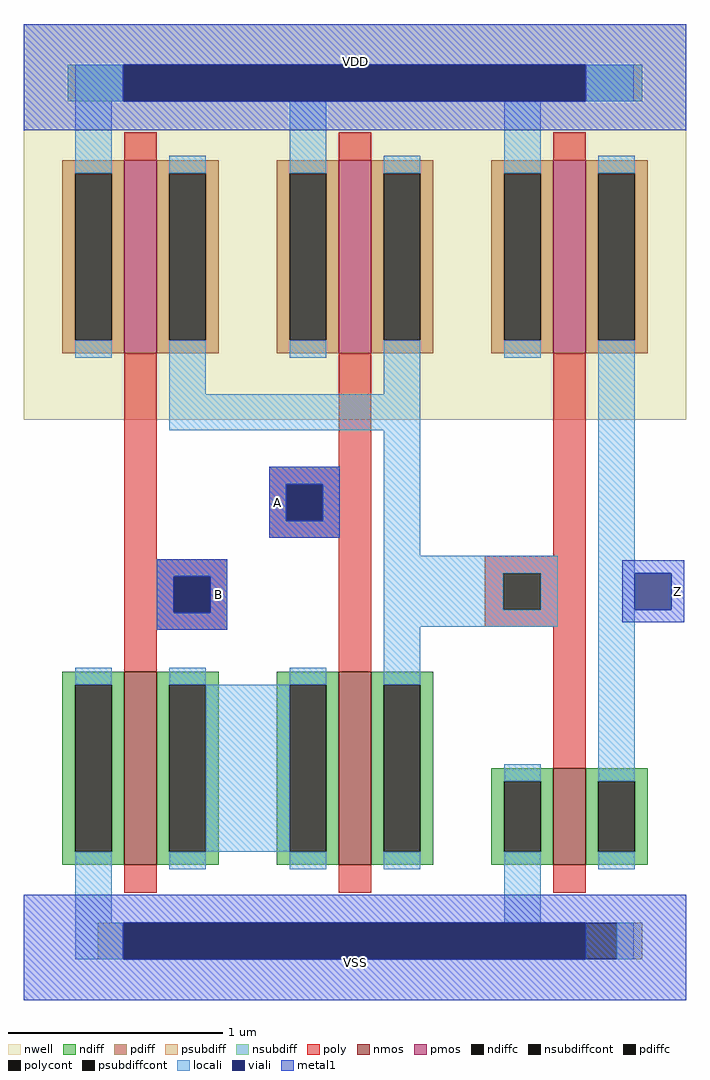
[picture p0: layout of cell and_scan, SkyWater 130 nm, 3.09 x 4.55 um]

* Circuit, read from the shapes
.subckt and_scan A B VDD VSS Z
XM1 n1 B VSS VSS sky130_fd_pr__nfet_01v8 w=0.9 l=0.15
XM2 n2 A n1 VSS sky130_fd_pr__nfet_01v8 w=0.9 l=0.15
XM3 Z n2 VSS VSS sky130_fd_pr__nfet_01v8 w=0.45 l=0.15
XM4 n2 B VDD VDD sky130_fd_pr__pfet_01v8 w=0.9 l=0.15
XM5 n2 A VDD VDD sky130_fd_pr__pfet_01v8 w=0.9 l=0.15
XM6 Z n2 VDD VDD sky130_fd_pr__pfet_01v8 w=0.9 l=0.15
.ends

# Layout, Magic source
magic
tech sky130A
magscale 1 2
<< nwell >>
rect -36 500 582 566
rect -36 479 581 500
rect 375 467 581 479
rect -36 458 582 467
rect 375 197 581 458
<< psubdiff >>
rect 33 -306 57 -272
rect 517 -306 541 -272
<< nsubdiff >>
rect 5 494 57 528
rect 488 494 541 528
<< psubdiffcont >>
rect 57 -306 517 -272
<< nsubdiffcont >>
rect 57 494 488 528
<< poly >>
rect 58 67 88 233
rect 258 153 288 233
rect 193 137 288 153
rect 193 103 209 137
rect 243 103 288 137
rect 193 87 288 103
rect 58 51 154 67
rect 58 17 104 51
rect 138 17 154 51
rect 58 1 154 17
rect 58 -12 88 1
rect 258 -12 288 87
rect 458 70 488 233
rect 394 54 488 70
rect 394 20 411 54
rect 446 20 488 54
rect 394 4 488 20
rect 458 -102 488 4
<< polycont >>
rect 209 103 243 137
rect 104 17 138 51
rect 411 20 446 54
<< locali >>
rect 12 494 57 528
rect 488 494 533 528
rect 12 443 46 494
rect 212 443 246 494
rect 412 443 446 494
rect 100 221 134 255
rect 300 221 334 255
rect 100 187 334 221
rect 193 137 259 153
rect 193 103 209 137
rect 243 103 259 137
rect 193 87 259 103
rect 300 70 334 187
rect 88 51 154 67
rect 88 17 104 51
rect 138 17 154 51
rect 88 1 154 17
rect 300 54 462 70
rect 300 20 411 54
rect 446 20 462 54
rect 300 4 462 20
rect 300 -34 334 4
rect 134 -206 212 -50
rect 500 -124 534 255
rect 12 -272 46 -222
rect 412 -272 446 -222
rect 12 -306 57 -272
rect 517 -306 533 -272
<< viali >>
rect 57 494 488 528
rect 209 103 243 137
rect 104 17 138 51
rect 534 20 568 54
rect 57 -306 488 -272
<< metal1 >>
rect -36 528 582 566
rect -36 494 57 528
rect 488 494 582 528
rect -36 467 582 494
rect 193 137 259 153
rect 193 103 209 137
rect 243 103 259 137
rect 193 87 259 103
rect 88 51 154 67
rect 88 17 104 51
rect 138 17 154 51
rect 88 1 154 17
rect 522 54 580 66
rect 522 20 534 54
rect 568 20 580 54
rect 522 8 580 20
rect -36 -272 582 -246
rect -36 -306 57 -272
rect 488 -306 582 -272
rect -36 -344 582 -306
use sky130_fd_pr__pfet_01v8_5AY9XA  sky130_fd_pr__pfet_01v8_5AY9XA_0
transform 1 0 73 0 1 349
box -109 -152 109 152
use sky130_fd_pr__pfet_01v8_5AY9XA  sky130_fd_pr__pfet_01v8_5AY9XA_1
transform 1 0 273 0 1 349
box -109 -152 109 152
use sky130_fd_pr__nfet_01v8_J6HC3N  sky130_fd_pr__nfet_01v8_J6HC3N_0
transform 1 0 473 0 1 -173
box -73 -71 73 71
use sky130_fd_pr__pfet_01v8_5AY9XA  sky130_fd_pr__pfet_01v8_5AY9XA_2
transform 1 0 473 0 1 349
box -109 -152 109 152
use sky130_fd_pr__nfet_01v8_PEKVP3  sky130_fd_pr__nfet_01v8_PEKVP3_0
transform 1 0 73 0 1 -128
box -73 -116 73 116
use sky130_fd_pr__nfet_01v8_PEKVP3  sky130_fd_pr__nfet_01v8_PEKVP3_1
transform 1 0 273 0 1 -128
box -73 -116 73 116
<< labels >>
rlabel metal1 -36 -312 582 -306 5 VSS
rlabel metal1 -36 528 582 534 1 VDD
rlabel metal1 138 1 154 67 3 B
rlabel metal1 193 87 209 153 7 A
rlabel metal1 568 8 580 66 3 Z
<< end >>

# cell sky130_fd_pr__pfet_01v8_5AY9XA: kit device sky130_fd_pr__pfet_01v8, w 0.9 l 0.15 m 1 nf 1 diffcov 100 polycov 100 guard 0 glc 0 grc 0 gtc 0 gbc 0 tbcov 100 rlcov 100 topc 0 botc 0 poverlap 0 doverlap 0 lmin 0.15 wmin 0.42 compatible {sky130_fd_pr__pfet_01v8 sky130_fd_pr__pfet_01v8_lvt sky130_fd_pr__pfet_01v8_hvt sky130_fd_pr__pfet_g5v0d10v5} full_metal 0 viasrc 100 viadrn 100 viagate 100 viagb 0 viagr 0 viagl 0 viagt 0

# cell sky130_fd_pr__nfet_01v8_J6HC3N: kit device sky130_fd_pr__nfet_01v8, w 0.45 l 0.150 m 1 nf 1 diffcov 100 polycov 100 guard 0 glc 0 grc 0 gtc 0 gbc 0 tbcov 100 rlcov 100 topc 0 botc 0 poverlap 0 doverlap 0 lmin 0.15 wmin 0.42 compatible {sky130_fd_pr__nfet_01v8 sky130_fd_pr__nfet_01v8_lvt sky130_fd_bs_flash__special_sonosfet_star sky130_fd_pr__nfet_g5v0d10v5 sky130_fd_pr__nfet_05v0_nvt} full_metal 0 viasrc 100 viadrn 100 viagate 100 viagb 0 viagr 0 viagl 0 viagt 0

# cell sky130_fd_pr__nfet_01v8_PEKVP3: kit device sky130_fd_pr__nfet_01v8, w 0.9 l 0.150 m 1 nf 1 diffcov 100 polycov 100 guard 0 glc 0 grc 0 gtc 0 gbc 0 tbcov 100 rlcov 100 topc 0 botc 0 poverlap 0 doverlap 0 lmin 0.15 wmin 0.42 compatible {sky130_fd_pr__nfet_01v8 sky130_fd_pr__nfet_01v8_lvt sky130_fd_bs_flash__special_sonosfet_star sky130_fd_pr__nfet_g5v0d10v5 sky130_fd_pr__nfet_05v0_nvt} full_metal 0 viasrc 100 viadrn 100 viagate 100 viagb 0 viagr 0 viagl 0 viagt 0
